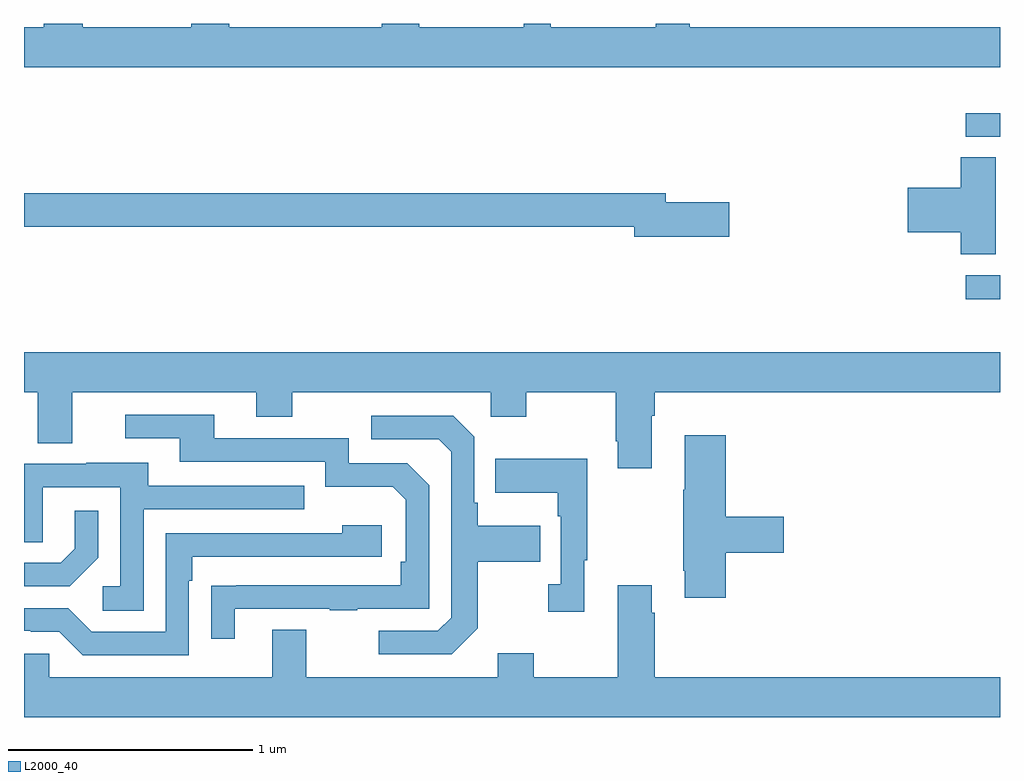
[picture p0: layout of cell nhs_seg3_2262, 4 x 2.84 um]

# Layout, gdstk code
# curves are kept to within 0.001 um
import gdstk
lib = gdstk.Library(unit=1e-6, precision=1e-09)
def R(c, l, rs):  # rectangles x0, y0, x1, y1
    for r in rs: c.add(gdstk.rectangle(r[:2], r[2:], *l))
def P(c, l, *ps):  # polygons
    for p in ps: c.add(gdstk.Polygon(p, *l))
L2000_40 = (2000, 40)

nhs_seg3_2262 = lib.new_cell('nhs_seg3_2262')
R(nhs_seg3_2262, L2000_40, [(230.859,729.271,231,729.369), (230.859,729.936,231,730.032)])
P(nhs_seg3_2262, L2000_40, [(227.081,730.4),(227.081,730.384),(227,730.384),(227,730.22),(231,730.22),(231,730.384),(229.729,730.384),(229.729,730.4),(229.589,730.4),(229.589,730.384),(229.159,730.384),(229.159,730.4),(229.049,730.4),(229.049,730.384),(228.619,730.384),(228.619,730.4),(228.467,730.4),(228.467,730.384),(227.841,730.384),(227.841,730.4),(227.686,730.4),(227.686,730.384),(227.241,730.384),(227.241,730.4)],
  [(230.983,729.851),(230.84,729.851),(230.84,729.728),(230.622,729.728),(230.622,729.545),(230.84,729.545),(230.84,729.454),(230.983,729.454)],
  [(229.891,729.668),(229.63,729.668),(229.63,729.704),(227,729.704),(227,729.568),(229.502,729.568),(229.502,729.526),(229.891,729.526)],
  [(229.573,728.792),(229.586,728.792),(229.586,728.888),(231,728.888),(231,729.052),(227,729.052),(227,728.888),(227.057,728.888),(227.057,728.68),(227.197,728.68),(227.197,728.888),(227.951,728.888),(227.951,728.789),(228.099,728.789),(228.099,728.888),(228.912,728.888),(228.912,728.789),(229.059,728.789),(229.059,728.888),(229.426,728.888),(229.426,728.689),(229.433,728.689),(229.433,728.577),(229.573,728.577)],
  [(227.863,728.001),(228.253,728.001),(228.253,727.996),(228.365,727.996),(228.365,728.001),(228.66,728.001),(228.66,728.508),(228.57,728.598),(228.33,728.598),(228.33,728.7),(227.779,728.7),(227.779,728.796),(227.415,728.796),(227.415,728.7),(227.639,728.7),(227.639,728.604),(228.234,728.604),(228.234,728.501),(228.511,728.501),(228.564,728.448),(228.564,728.194),(228.544,728.194),(228.544,728.097),(227.767,728.096),(227.767,727.878),(227.863,727.878)],
  [(228.859,727.921),(228.859,728.194),(229.115,728.194),(229.115,728.341),(228.859,728.341),(228.859,728.437),(228.846,728.437),(228.846,728.706),(228.759,728.793),(228.423,728.793),(228.423,728.697),(228.699,728.697),(228.75,728.646),(228.75,727.965),(228.696,727.911),(228.453,727.911),(228.453,727.815),(228.753,727.815)],
  [(229.877,728.231),(230.113,728.231),(230.113,728.378),(229.877,728.378),(229.877,728.713),(229.709,728.713),(229.709,728.489),(229.702,728.489),(229.702,728.158),(229.709,728.158),(229.709,728.046),(229.877,728.046)],
  [(229.297,728.201),(229.309,728.201),(229.309,728.617),(228.931,728.617),(228.931,728.477),(229.188,728.477),(229.188,728.381),(229.2,728.381),(229.2,728.102),(229.149,728.102),(229.149,727.989),(229.297,727.989)],
  [(227.49,728.409),(228.149,728.409),(228.149,728.505),(227.509,728.505),(227.509,728.599),(227.255,728.599),(227.255,728.595),(227,728.595),(227,728.275),(227.076,728.275),(227.076,728.499),(227.394,728.499),(227.394,728.094),(227.322,728.094),(227.322,727.993),(227.49,727.993)],
  [(227.304,728.21),(227.304,728.404),(227.207,728.404),(227.207,728.247),(227.15,728.19),(227,728.19),(227,728.094),(227.188,728.094)],
  [(227.676,728.117),(227.689,728.117),(227.689,728.214),(228.466,728.214),(228.466,728.344),(228.305,728.344),(228.305,728.31),(227.58,728.31),(227.58,727.908),(227.277,727.908),(227.181,728.004),(227,728.004),(227,727.911),(227.027,727.911),(227.027,727.908),(227.145,727.908),(227.241,727.812),(227.676,727.812)],
  [(231,727.72),(229.586,727.72),(229.586,727.985),(229.573,727.985),(229.573,728.098),(229.433,728.098),(229.433,727.72),(229.089,727.72),(229.089,727.819),(228.941,727.819),(228.941,727.72),(228.157,727.72),(228.157,727.915),(228.017,727.915),(228.017,727.72),(227.103,727.72),(227.103,727.818),(227,727.818),(227,727.556),(231,727.556)])

lib.write_gds('nhs_seg3_2262.gds')
